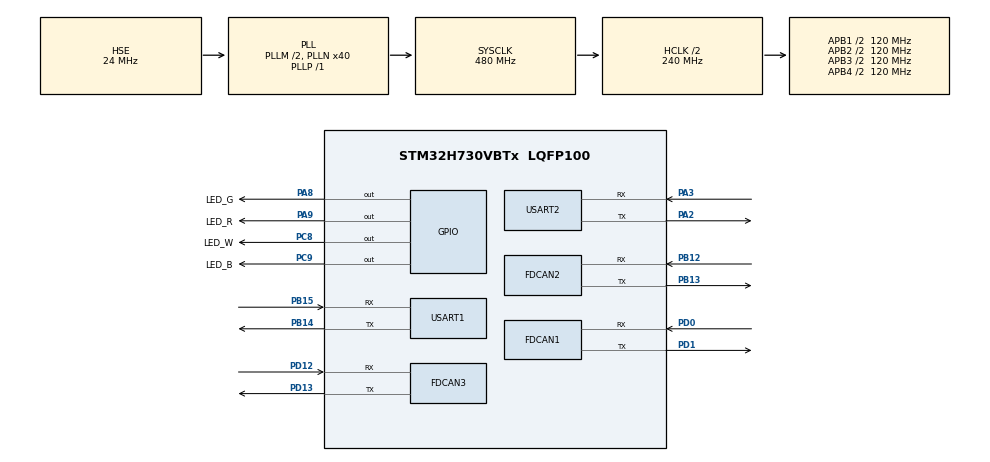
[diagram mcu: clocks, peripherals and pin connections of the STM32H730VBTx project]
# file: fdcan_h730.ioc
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FDCAN1.AutoRetransmission=ENABLE
FDCAN1.CalculateBaudRateNominal=1000000
FDCAN1.CalculateTimeBitNominal=1000
FDCAN1.CalculateTimeQuantumNominal=25.0
FDCAN1.DataPrescaler=2
FDCAN1.DataSyncJumpWidth=2
FDCAN1.DataTimeSeg1=5
FDCAN1.DataTimeSeg2=2
FDCAN1.FrameFormat=FDCAN_FRAME_FD_BRS
FDCAN1.NominalPrescaler=2
FDCAN1.NominalSyncJumpWidth=8
FDCAN1.NominalTimeSeg1=31
FDCAN1.NominalTimeSeg2=8
FDCAN1.ProtocolException=ENABLE
FDCAN1.RxBufferSize=FDCAN_DATA_BYTES_64
FDCAN1.RxFifo0ElmtSize=FDCAN_DATA_BYTES_64
FDCAN1.RxFifo0ElmtsNbr=10
FDCAN1.RxFifo1ElmtSize=FDCAN_DATA_BYTES_64
FDCAN1.RxFifo1ElmtsNbr=0
FDCAN1.TxElmtSize=FDCAN_DATA_BYTES_64
FDCAN1.TxFifoQueueElmtsNbr=4
FDCAN2.AutoRetransmission=ENABLE
FDCAN2.CalculateBaudRateNominal=1000000
FDCAN2.CalculateTimeBitNominal=1000
FDCAN2.CalculateTimeQuantumNominal=25.0
FDCAN2.DataPrescaler=2
FDCAN2.DataSyncJumpWidth=2
FDCAN2.DataTimeSeg1=5
FDCAN2.DataTimeSeg2=2
FDCAN2.FrameFormat=FDCAN_FRAME_FD_BRS
FDCAN2.MessageRAMOffset=1024
FDCAN2.NominalPrescaler=2
FDCAN2.NominalSyncJumpWidth=8
FDCAN2.NominalTimeSeg1=31
FDCAN2.NominalTimeSeg2=8
FDCAN2.ProtocolException=ENABLE
FDCAN2.RxBufferSize=FDCAN_DATA_BYTES_64
FDCAN2.RxFifo0ElmtSize=FDCAN_DATA_BYTES_64
FDCAN2.RxFifo0ElmtsNbr=10
FDCAN2.RxFifo1ElmtSize=FDCAN_DATA_BYTES_64
FDCAN2.RxFifo1ElmtsNbr=0
FDCAN2.TxElmtSize=FDCAN_DATA_BYTES_64
FDCAN2.TxFifoQueueElmtsNbr=4
FDCAN3.AutoRetransmission=ENABLE
FDCAN3.CalculateBaudRateNominal=1000000
FDCAN3.CalculateTimeBitNominal=1000
FDCAN3.CalculateTimeQuantumNominal=25.0
FDCAN3.DataPrescaler=2
FDCAN3.DataSyncJumpWidth=2
FDCAN3.DataTimeSeg1=5
FDCAN3.DataTimeSeg2=2
FDCAN3.FrameFormat=FDCAN_FRAME_FD_BRS
FDCAN3.MessageRAMOffset=2048
FDCAN3.NominalPrescaler=2
FDCAN3.NominalSyncJumpWidth=8
FDCAN3.NominalTimeSeg1=31
FDCAN3.NominalTimeSeg2=8
FDCAN3.ProtocolException=ENABLE
FDCAN3.RxBufferSize=FDCAN_DATA_BYTES_64
FDCAN3.RxFifo0ElmtSize=FDCAN_DATA_BYTES_64
FDCAN3.RxFifo0ElmtsNbr=10
FDCAN3.RxFifo1ElmtSize=FDCAN_DATA_BYTES_64
FDCAN3.RxFifo1ElmtsNbr=0
FDCAN3.TxElmtSize=FDCAN_DATA_BYTES_64
FDCAN3.TxFifoQueueElmtsNbr=4
Mcu.Family=STM32H7
Mcu.Name=STM32H730VBTx
Mcu.Package=LQFP100
NVIC.FDCAN1_IT0_IRQn=true\:0\:0\:true\:false\:true\:true\:true\:true
NVIC.FDCAN1_IT1_IRQn=true\:0\:0\:false\:false\:true\:true\:true\:true
NVIC.FDCAN2_IT0_IRQn=true\:1\:0\:true\:false\:true\:true\:true\:true
NVIC.FDCAN2_IT1_IRQn=true\:1\:0\:true\:false\:true\:true\:true\:true
NVIC.FDCAN3_IT0_IRQn=true\:2\:0\:true\:false\:true\:true\:true\:true
NVIC.FDCAN3_IT1_IRQn=true\:2\:0\:true\:false\:true\:true\:true\:true
NVIC.PriorityGroup=NVIC_PRIORITYGROUP_4
PA13(JTMS/SWDIO).Signal=DEBUG_JTMS-SWDIO
PA14(JTCK/SWCLK).Signal=DEBUG_JTCK-SWCLK
PA2.Mode=Asynchronous
PA2.Signal=USART2_TX
PA3.Mode=Asynchronous
PA3.Signal=USART2_RX
PA8.GPIO_Label=LED_G
PA8.PinState=GPIO_PIN_SET
PA8.Signal=GPIO_Output
PA9.GPIO_Label=LED_R
PA9.PinState=GPIO_PIN_SET
PA9.Signal=GPIO_Output
PB12.Mode=FDCAN_Activate
PB12.Signal=FDCAN2_RX
PB13.Mode=FDCAN_Activate
PB13.Signal=FDCAN2_TX
PB14.Mode=Asynchronous
PB14.Signal=USART1_TX
PB15.Mode=Asynchronous
PB15.Signal=USART1_RX
PC8.GPIO_Label=LED_W
PC8.PinState=GPIO_PIN_SET
PC8.Signal=GPIO_Output
PC9.GPIO_Label=LED_B
PC9.PinState=GPIO_PIN_SET
PC9.Signal=GPIO_Output
PD0.Mode=FDCAN_Activate
PD0.Signal=FDCAN1_RX
PD1.Mode=FDCAN_Activate
PD1.Signal=FDCAN1_TX
PD12.Mode=FDCAN_Activate
PD12.Signal=FDCAN3_RX
PD13.Mode=FDCAN_Activate
PD13.Signal=FDCAN3_TX
PH0-OSC_IN.Mode=HSE-External-Oscillator
PH0-OSC_IN.Signal=RCC_OSC_IN
PH1-OSC_OUT.Mode=HSE-External-Oscillator
PH1-OSC_OUT.Signal=RCC_OSC_OUT
ProjectManager.HeapSize=0x200
ProjectManager.StackSize=0x400
ProjectManager.TargetToolchain=MDK-ARM V5.32
RCC.ADCFreq_Value=150000000
RCC.APB1Freq_Value=120000000
RCC.APB2Freq_Value=120000000
RCC.APB3Freq_Value=120000000
RCC.APB4Freq_Value=120000000
RCC.CortexFreq_Value=480000000
RCC.D1PPRE=RCC_APB3_DIV2
RCC.D2PPRE1=RCC_APB1_DIV2
RCC.D2PPRE2=RCC_APB2_DIV2
RCC.D3PPRE=RCC_APB4_DIV2
RCC.DIVM1=2
RCC.DIVM2=2
RCC.DIVM3=2
RCC.DIVN1=40
RCC.DIVN2=25
RCC.DIVN3=25
RCC.DIVP1=1
RCC.DIVQ1=6
RCC.DIVQ2=3
RCC.DIVQ3=4
RCC.HCLKFreq_Value=240000000
RCC.HPRE=RCC_HCLK_DIV2
RCC.HSE_VALUE=24000000
RCC.PLL2FRACN=0
RCC.PLL3FRACN=0
RCC.PLLFRACN=0
RCC.PLLSourceVirtual=RCC_PLLSOURCE_HSE
RCC.SYSCLKFreq_VALUE=480000000
RCC.SYSCLKSource=RCC_SYSCLKSOURCE_PLLCLK
RCC.USBFreq_Value=80000000
USART1.VirtualMode-Asynchronous=VM_ASYNC
USART2.VirtualMode-Asynchronous=VM_ASYNC
board=custom

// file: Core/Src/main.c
/* USER CODE BEGIN Header */
/**
  ******************************************************************************
  * @file           : main.c
  * @brief          : Main program body
  ******************************************************************************
  * @attention
  *
  * Copyright (c) 2024 STMicroelectronics.
  * All rights reserved.
  *
  * This software is licensed under terms that can be found in the LICENSE file
  * in the root directory of this software component.
  * If no LICENSE file comes with this software, it is provided AS-IS.
  *
  ******************************************************************************
  */
/* USER CODE END Header */
#include "main.h"
#include "fdcan.h"
#include "usart.h"
#include "gpio.h"

/* USER CODE BEGIN Includes */
#include "led.h"
#include "my_fdcan.h"
#include "motor_control.h"
#include "motor_config.h"
#include "motor.h"

#include "test_motor.h"
#include "test_motor_many.h"

/* USER CODE END Includes */

void SystemClock_Config(void);

int main(void)
{
    /* USER CODE BEGIN 1 */
    uint32_t tick_100ms = 0;
    uint32_t tick_1000ms = 0;
    /* USER CODE END 1 */

    /* MCU Configuration--------------------------------------------------------*/

    /* Reset of all peripherals, Initializes the Flash interface and the Systick. */
    HAL_Init();

    /* Configure the system clock */
    SystemClock_Config();

    /* Initialize all configured peripherals */
    MX_GPIO_Init();
    MX_FDCAN1_Init();
    MX_USART1_UART_Init();
    MX_USART2_UART_Init();
    MX_FDCAN2_Init();
    MX_FDCAN3_Init();
    /* USER CODE BEGIN 2 */
    fdcan_filter_init(&hfdcan1);
    fdcan_filter_init(&hfdcan2);
    fdcan_filter_init(&hfdcan3);
    /* USER CODE END 2 */

    /* Infinite loop */
    /* USER CODE BEGIN WHILE */
    printf("此工程引脚配置适用于高擎主控板 v1.6 及以上版本\r\n");
    printf("例程版本号："MOTOR_SDK_VERSION"\r\n");

    while (1)
    {
        /* USER CODE END WHILE */

        /* USER CODE BEGIN 3 */

        if (HAL_GetTick() - tick_100ms >= 100)
        {
            tick_100ms = HAL_GetTick();

            test_motor_control(1);
            // test_motor_many();

        }

        if (HAL_GetTick() - tick_1000ms >= 1000)
        {
            tick_1000ms = HAL_GetTick();
            led_toggle();

            motor_print_state();
        }

        motor_process_state_all();
    }
    /* USER CODE END 3 */
}

void SystemClock_Config(void)
{
    RCC_OscInitTypeDef RCC_OscInitStruct = {0};
    RCC_ClkInitTypeDef RCC_ClkInitStruct = {0};

    /** Supply configuration update enable
    */
    HAL_PWREx_ConfigSupply(PWR_LDO_SUPPLY);

    /** Configure the main internal regulator output voltage
    */
    __HAL_PWR_VOLTAGESCALING_CONFIG(PWR_REGULATOR_VOLTAGE_SCALE0);

    while(!__HAL_PWR_GET_FLAG(PWR_FLAG_VOSRDY)) {}

    /** Initializes the RCC Oscillators according to the specified parameters
    * in the RCC_OscInitTypeDef structure.
    */
    RCC_OscInitStruct.OscillatorType = RCC_OSCILLATORTYPE_HSE;
    RCC_OscInitStruct.HSEState = RCC_HSE_ON;
    RCC_OscInitStruct.PLL.PLLState = RCC_PLL_ON;
    RCC_OscInitStruct.PLL.PLLSource = RCC_PLLSOURCE_HSE;
    RCC_OscInitStruct.PLL.PLLM = 2;
    RCC_OscInitStruct.PLL.PLLN = 40;
    RCC_OscInitStruct.PLL.PLLP = 1;
    RCC_OscInitStruct.PLL.PLLQ = 6;
    RCC_OscInitStruct.PLL.PLLR = 2;
    RCC_OscInitStruct.PLL.PLLRGE = RCC_PLL1VCIRANGE_3;
    RCC_OscInitStruct.PLL.PLLVCOSEL = RCC_PLL1VCOWIDE;
    RCC_OscInitStruct.PLL.PLLFRACN = 0;
    if (HAL_RCC_OscConfig(&RCC_OscInitStruct) != HAL_OK)
    {
        Error_Handler();
    }

    /** Initializes the CPU, AHB and APB buses clocks
    */
    RCC_ClkInitStruct.ClockType = RCC_CLOCKTYPE_HCLK | RCC_CLOCKTYPE_SYSCLK
                                  | RCC_CLOCKTYPE_PCLK1 | RCC_CLOCKTYPE_PCLK2
                                  | RCC_CLOCKTYPE_D3PCLK1 | RCC_CLOCKTYPE_D1PCLK1;
    RCC_ClkInitStruct.SYSCLKSource = RCC_SYSCLKSOURCE_PLLCLK;
    RCC_ClkInitStruct.SYSCLKDivider = RCC_SYSCLK_DIV1;
    RCC_ClkInitStruct.AHBCLKDivider = RCC_HCLK_DIV2;
    RCC_ClkInitStruct.APB3CLKDivider = RCC_APB3_DIV2;
    RCC_ClkInitStruct.APB1CLKDivider = RCC_APB1_DIV2;
    RCC_ClkInitStruct.APB2CLKDivider = RCC_APB2_DIV2;
    RCC_ClkInitStruct.APB4CLKDivider = RCC_APB4_DIV2;

    if (HAL_RCC_ClockConfig(&RCC_ClkInitStruct, FLASH_LATENCY_3) != HAL_OK)
    {
        Error_Handler();
    }
}

void Error_Handler(void)
{
    __disable_irq();
    while (1)
    {
    }
}
